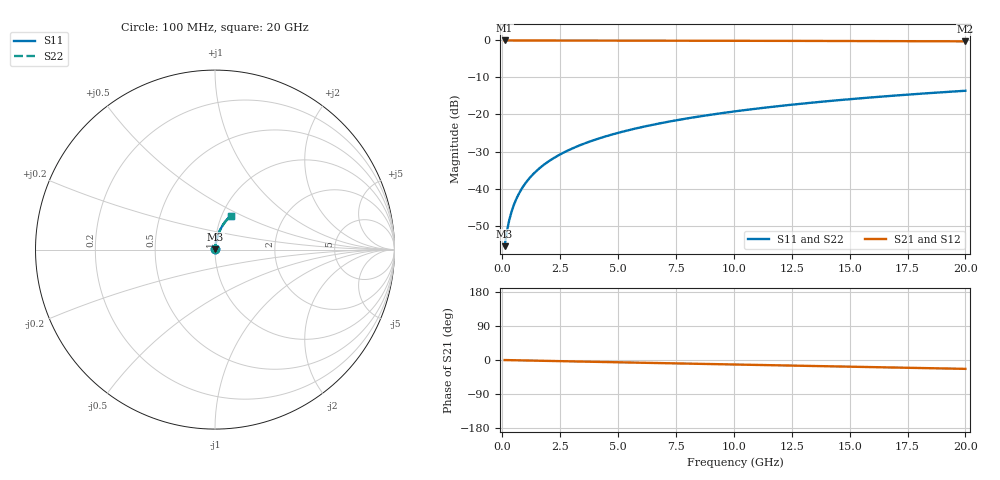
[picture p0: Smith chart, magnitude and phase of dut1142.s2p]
! Touchstone file exported from HFSS 2026.1.0
!  File:  C:/ffzhzh/LocalFiles/Ansys_Project_Files/temp_train_TMRDL_1142_1783161976_18472.aedt
!  Generated:  06:47:27 PM Jul  4, 2026
!  Design:  TMRDL
!  Project:  temp_train_TMRDL_1142_1783161976_18472
! Variables:
!  h_bsmrdl = 2um
!  h_ox = 20um
!  h_rdl = 5um
!  h_sub = 80um
!  h_tmrdl = 5.53um
!  h_tsv = 80um
!  h_via = 3um
!  l_bsmrdl = 300um
!  l_sub = 728.42um
!  l_tmrdl = 328.42um
!  m_sub = 200um
!  pitch = 47.2um
!  r_tsv = 6um
!  s_tmrdl = 10um
!  w_bsmrdl = 18um
!  w_sub = 500um
!  w_tmrdl = 22.6um
!  x_tsv_center1 = 339.72um
!  x_tsv_center2 = 657.72um
!  x_tsv_center3 = 1008.74um
!  x_tsv_center4 = 1326.74um
!  x_tsv_center5 = 1677.76um
!  x_tsv_center6 = 1995.76um
# GHz S MA R 50.000000
! Terminal data exported
! Port[1] = TM_RDL1_1_T1
! Port[2] = TM_RDL1_1_T2
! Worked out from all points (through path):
!   200 points, 100 MHz to 20 GHz, reference 50 ohm
!   highest |S21| = -0.01 dB at 100 MHz (marker M1); lowest = -0.2 dB at 20 GHz (marker M2)
!   group delay of S21, straight-line fit = 3.24 ps
!   lowest |S11| = -55.6 dB at 100 MHz (marker M3), VSWR 1.00, Z = 50.1 + j0.127 ohm
!   |S11| at or under -10 dB: start of sweep to end of sweep
!   |S22| runs from -55.6 to -13.6 dB; largest |S21 - S12| = 1.7e-15
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0.1  0.001668 49.3  0.9989 -0.1  0.9989 -0.1  0.001668 49.3
! Gamma 0 0 0 0
! Port Impedance 50 0 50 0
0.2  0.002658 64.7  0.9988 -0.3  0.9988 -0.3  0.002659 64.7
0.3  0.003746 71.8  0.9988 -0.4  0.9988 -0.4  0.003746 71.8
0.4  0.004872 75.7  0.9987 -0.5  0.9987 -0.5  0.004873 75.7
0.5  0.006017 78.1  0.9987 -0.6  0.9987 -0.6  0.006017 78.1
0.6  0.00717 79.6  0.9986 -0.7  0.9986 -0.7  0.007169 79.6
0.8  0.009485 81.4  0.9986 -1.0  0.9986 -1.0  0.009485 81.4
1.1  0.01296 82.7  0.9984 -1.4  0.9984 -1.4  0.01296 82.7
1.3  0.01527 83.1  0.9983 -1.6  0.9983 -1.6  0.01527 83.1
1.5  0.01757 83.2  0.9982 -1.8  0.9982 -1.8  0.01757 83.2
1.8  0.02101 83.3  0.9981 -2.2  0.9981 -2.2  0.021 83.3
2.1  0.02442 83.2  0.9979 -2.6  0.9979 -2.6  0.02441 83.2
2.7  0.03117 82.9  0.9974 -3.3  0.9974 -3.3  0.03117 82.9
3.5  0.04006 82.2  0.9968 -4.2  0.9968 -4.2  0.04006 82.2
4.2  0.04775 81.6  0.9961 -5.1  0.9961 -5.1  0.04775 81.6
5  0.05648 80.9  0.9954 -6.0  0.9954 -6.0  0.05648 80.9
6.8  0.07588 79.1  0.9935 -8.2  0.9935 -8.2  0.07588 79.1
8.3  0.09185 77.5  0.9917 -9.9  0.9917 -9.9  0.09185 77.5
10.1  0.1108 75.7  0.9893 -12.0  0.9893 -12.0  0.1108 75.6
13.4  0.1447 72.1  0.9843 -15.8  0.9843 -15.8  0.1447 72.1
16.7  0.1776 68.5  0.9784 -19.6  0.9784 -19.6  0.1776 68.5
20  0.2091 65.0  0.9717 -23.4  0.9717 -23.4  0.2091 64.9
